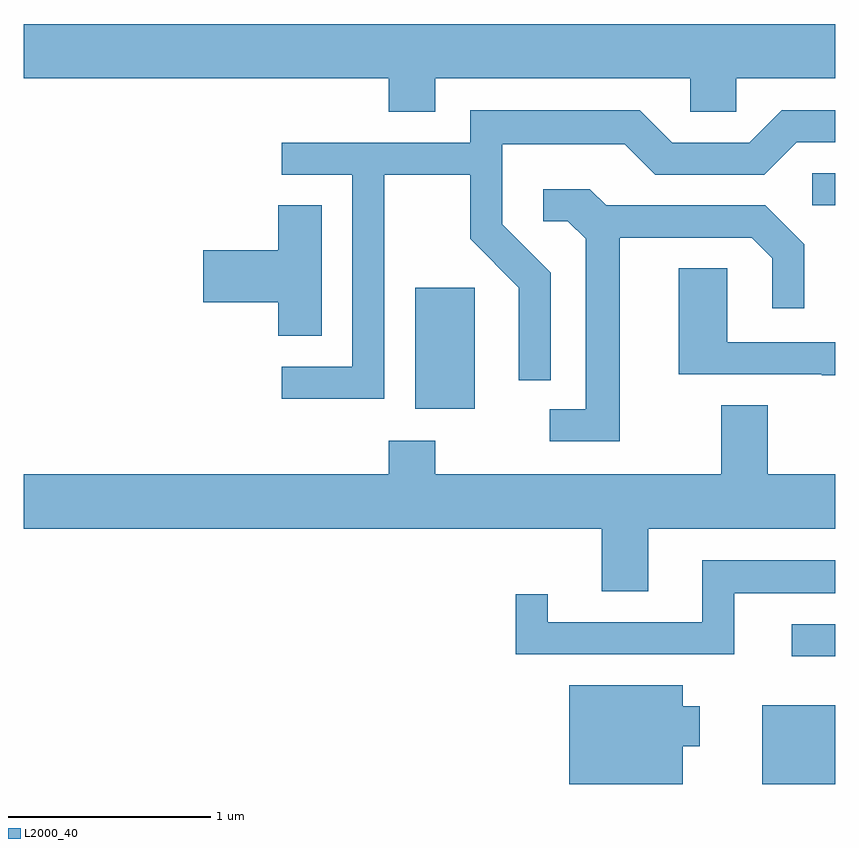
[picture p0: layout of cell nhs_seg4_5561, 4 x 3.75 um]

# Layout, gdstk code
import gdstk
lib = gdstk.Library(unit=1e-6, precision=1e-09)
def R(c, l, rs):  # rectangles x0, y0, x1, y1
    for r in rs: c.add(gdstk.rectangle(r[:2], r[2:], *l))
def P(c, l, *ps):  # polygons
    for p in ps: c.add(gdstk.Polygon(p, *l))
L2000_40 = (2000, 40)

nhs_seg4_5561 = lib.new_cell('nhs_seg4_5561')
R(nhs_seg4_5561, L2000_40, [(351.251,1360.076,351.611,1360.464), (351.398,1360.706,351.611,1360.864), (349.541,1361.926,349.834,1362.524), (351.498,1362.931,351.611,1363.089)])
P(nhs_seg4_5561, L2000_40, [(349.639,1363.556),(350.896,1363.556),(350.896,1363.391),(351.124,1363.391),(351.124,1363.556),(351.611,1363.556),(351.611,1363.824),(347.611,1363.824),(347.611,1363.556),(349.411,1363.556),(349.411,1363.391),(349.639,1363.391)],
  [(349.389,1363.081),(349.811,1363.081),(349.811,1362.764),(350.051,1362.524),(350.051,1362.068),(350.209,1362.068),(350.209,1362.597),(349.969,1362.837),(349.969,1363.231),(350.574,1363.231),(350.724,1363.081),(351.262,1363.081),(351.422,1363.241),(351.611,1363.241),(351.611,1363.399),(351.349,1363.399),(351.189,1363.239),(350.807,1363.239),(350.647,1363.399),(349.811,1363.399),(349.811,1363.239),(348.883,1363.239),(348.883,1363.081),(349.231,1363.081),(349.231,1362.134),(348.883,1362.134),(348.883,1361.976),(349.389,1361.976)],
  [(350.549,1362.771),(351.199,1362.771),(351.301,1362.669),(351.301,1362.423),(351.459,1362.423),(351.459,1362.737),(351.267,1362.929),(350.482,1362.929),(350.402,1363.009),(350.173,1363.009),(350.173,1362.851),(350.294,1362.851),(350.381,1362.764),(350.381,1361.924),(350.203,1361.924),(350.203,1361.766),(350.549,1361.766)],
  [(349.079,1362.929),(348.866,1362.929),(348.866,1362.709),(348.496,1362.709),(348.496,1362.451),(348.866,1362.451),(348.866,1362.286),(349.079,1362.286)],
  [(351.611,1362.254),(351.079,1362.254),(351.079,1362.619),(350.841,1362.619),(350.841,1362.096),(351.545,1362.096),(351.545,1362.091),(351.611,1362.091)],
  [(350.689,1361.336),(351.611,1361.336),(351.611,1361.604),(351.279,1361.604),(351.279,1361.944),(351.051,1361.944),(351.051,1361.604),(349.639,1361.604),(349.639,1361.769),(349.411,1361.769),(349.411,1361.604),(347.611,1361.604),(347.611,1361.336),(350.461,1361.336),(350.461,1361.026),(350.689,1361.026)],
  [(351.114,1361.016),(351.611,1361.016),(351.611,1361.179),(350.956,1361.179),(350.956,1360.874),(350.194,1360.874),(350.194,1361.013),(350.036,1361.013),(350.036,1360.716),(351.114,1360.716)],
  [(350.859,1360.261),(350.944,1360.261),(350.944,1360.459),(350.859,1360.459),(350.859,1360.564),(350.301,1360.564),(350.301,1360.076),(350.859,1360.076)])

lib.write_gds('nhs_seg4_5561.gds')
